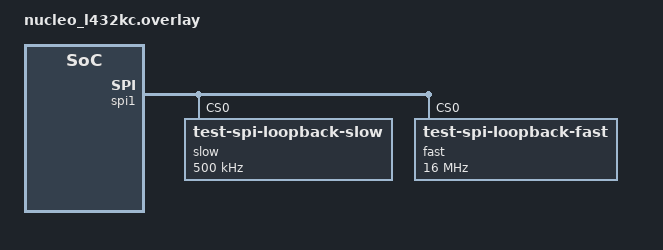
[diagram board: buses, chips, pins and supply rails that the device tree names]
/*
 * SPDX-FileCopyrightText: Copyright The Zephyr Project Contributors
 * SPDX-License-Identifier: Apache-2.0
 */

/* Short A5 (PA6, SPI1_MISO) and A6 (PA7, SPI1_MOSI) on CN4 */
&spi1 {
	dmas = <&dma1 3 1 (STM32_DMA_PERIPH_TX | STM32_DMA_PRIORITY_HIGH)>,
	       <&dma1 2 1 (STM32_DMA_PERIPH_RX | STM32_DMA_PRIORITY_HIGH)>;
	dma-names = "tx", "rx";

	slow@0 {
		compatible = "test-spi-loopback-slow";
		reg = <0>;
		spi-max-frequency = <500000>;
	};

	fast@0 {
		compatible = "test-spi-loopback-fast";
		reg = <0>;
		spi-max-frequency = <16000000>;
	};
};

&dma1 {
	status = "okay";
};
